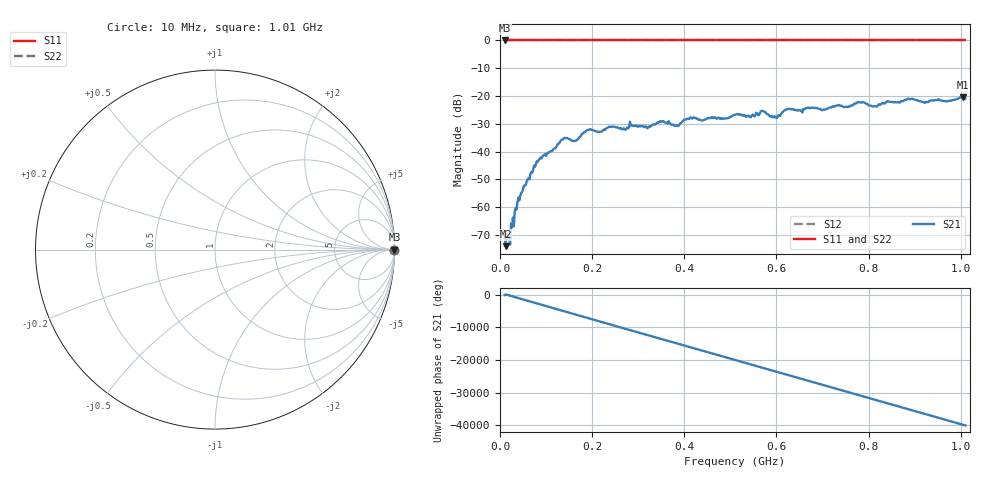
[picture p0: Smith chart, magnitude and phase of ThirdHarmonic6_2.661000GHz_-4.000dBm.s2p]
! 8/17/2025 6:07:56 AM
! C:\ANRITSUVNA\TEMP\TEMP.S2P
! CHANNEL.1
! TR.MEASUREMENT
! RAW.DATA
! RF.CORRECTION.OFF
! AVERAGING.OFF
! IF.BANDWIDTH: 5KHZ
! SWEEPTYPE:  FREQ.SWEEP(Linear)
! Reference Plane Port Info
! PORT:  PORT1  PORT2
! DISTANCE:  0  m  0  m
! TIME:  0  s  0  s
! PHASE.OFFSET:  0  deg.  0  deg.
! LOSS:  0  dB  0  dB
! REF.LOSS:  0  dB  0  dB
! REF.FREQ:  0  Hz  0  Hz
! Power Info
! POWER:  -20  dBm  -20  dBm
! EFF.POWER:  -20  dBm  -20  dBm
! SOURCE.ATTEN:  0  dB  0  dB
! TEST.ATTEN:  0  dB  0  dB
# GHZ S RI R 50.0
! FREQ.GHZ  S11RE  S11IM  S21RE  S21IM  S12RE  S12IM  S22RE  S22IM
!; PortSelection: Port_12
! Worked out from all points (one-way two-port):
!   501 points, 10 MHz to 1.01 GHz, reference 50 ohm
!   highest |S21| = -20.48 dB at 1.004 GHz (marker M1); lowest = -74.0 dB at 12 MHz (marker M2)
!   lowest |S11| = 0.0 dB at 10 MHz (marker M3)
!   |S11| at or under -10 dB: nowhere
!   |S22| runs from 0.0 to 0.0 dB; largest |S21 - S12| = 1.1
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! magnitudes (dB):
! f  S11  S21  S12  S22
! 10 MHz  0.0  -70.1  0.0  0.0
! 12 MHz  0.0  -74.0  0.0  0.0
! 22 MHz  0.0  -73.4  0.0  0.0
! 36 MHz  0.0  -60.8  0.0  0.0
! 48 MHz  0.0  -54.4  0.0  0.0
! 84 MHz  0.0  -42.9  0.0  0.0
! 136 MHz  0.0  -35.6  0.0  0.0
! 162 MHz  0.0  -36.2  0.0  0.0
! 178 MHz  0.0  -33.6  0.0  0.0
! 344 MHz  0.0  -29.6  0.0  0.0
! 384 MHz  0.0  -30.6  0.0  0.0
! 410 MHz  0.0  -28.2  0.0  0.0
! 510 MHz  0.0  -26.7  0.0  0.0
! 570 MHz  0.0  -25.4  0.0  0.0
! 598 MHz  0.0  -27.6  0.0  0.0
! 624 MHz  0.0  -24.7  0.0  0.0
! 678 MHz  0.0  -24.2  0.0  0.0
! 782 MHz  0.0  -22.3  0.0  0.0
! 814 MHz  0.0  -23.6  0.0  0.0
! 844 MHz  0.0  -22.1  0.0  0.0
! 1.004 GHz  0.0  -20.5  0.0  0.0
! 1.01 GHz  0.0  -20.9  0.0  0.0
